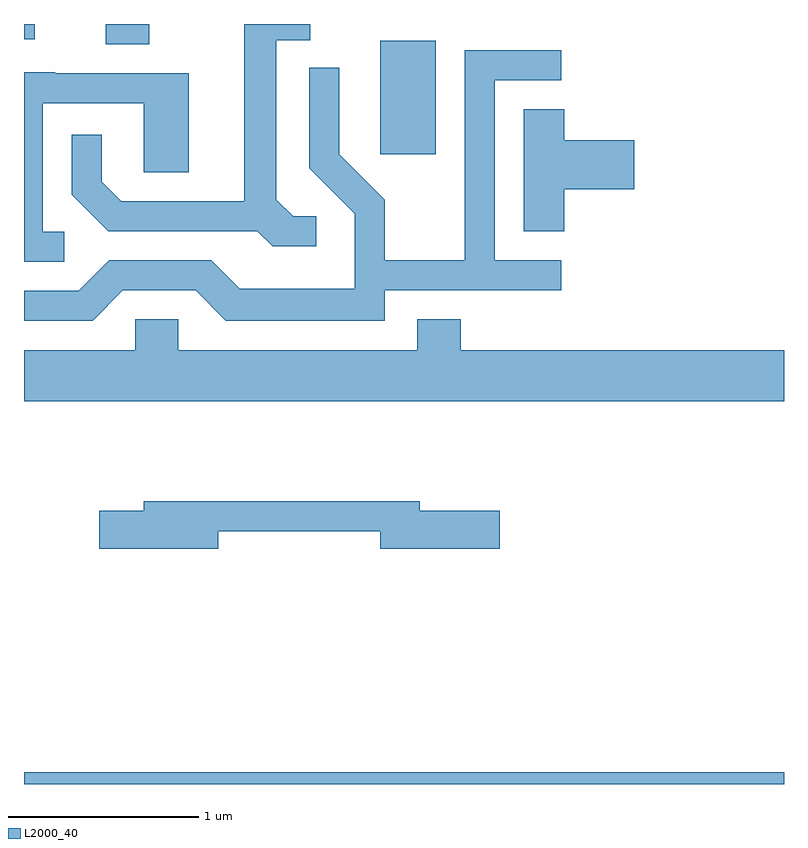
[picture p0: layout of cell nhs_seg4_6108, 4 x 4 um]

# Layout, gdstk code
import gdstk
lib = gdstk.Library(unit=1e-6, precision=1e-09)
def R(c, l, rs):  # rectangles x0, y0, x1, y1
    for r in rs: c.add(gdstk.rectangle(r[:2], r[2:], *l))
def P(c, l, *ps):  # polygons
    for p in ps: c.add(gdstk.Polygon(p, *l))
L2000_40 = (2000, 40)

nhs_seg4_6108 = lib.new_cell('nhs_seg4_6108')
R(nhs_seg4_6108, L2000_40, [(363.611,1365.982,367.611,1366.044), (365.486,1369.296,365.779,1369.894), (364.041,1369.876,364.269,1369.982), (363.611,1369.901,363.668,1369.982)])
P(nhs_seg4_6108, L2000_40, [(365.148,1368.969),(365.027,1368.969),(364.939,1369.057),(364.939,1369.896),(365.118,1369.896),(365.118,1369.982),(364.771,1369.982),(364.771,1369.049),(364.122,1369.049),(364.019,1369.152),(364.019,1369.398),(363.861,1369.398),(363.861,1369.084),(364.054,1368.891),(364.839,1368.891),(364.919,1368.811),(365.148,1368.811)],
  [(364.132,1368.581),(364.514,1368.581),(364.674,1368.421),(365.509,1368.421),(365.509,1368.581),(366.438,1368.581),(366.438,1368.739),(366.089,1368.739),(366.089,1369.686),(366.438,1369.686),(366.438,1369.844),(365.931,1369.844),(365.931,1368.739),(365.509,1368.739),(365.509,1369.057),(365.269,1369.297),(365.269,1369.753),(365.111,1369.753),(365.111,1369.224),(365.351,1368.984),(365.351,1368.589),(364.747,1368.589),(364.597,1368.739),(364.059,1368.739),(363.899,1368.579),(363.611,1368.579),(363.611,1368.421),(363.972,1368.421)],
  [(363.823,1368.889),(363.709,1368.889),(363.709,1369.566),(364.241,1369.566),(364.241,1369.201),(364.479,1369.201),(364.479,1369.724),(363.775,1369.724),(363.775,1369.729),(363.611,1369.729),(363.611,1368.731),(363.823,1368.731)],
  [(366.454,1369.111),(366.824,1369.111),(366.824,1369.369),(366.454,1369.369),(366.454,1369.534),(366.241,1369.534),(366.241,1368.891),(366.454,1368.891)],
  [(367.611,1368.264),(365.909,1368.264),(365.909,1368.429),(365.681,1368.429),(365.681,1368.264),(364.424,1368.264),(364.424,1368.429),(364.196,1368.429),(364.196,1368.264),(363.611,1368.264),(363.611,1367.996),(367.611,1367.996)],
  [(364.634,1367.311),(365.486,1367.311),(365.486,1367.221),(366.114,1367.221),(366.114,1367.419),(365.694,1367.419),(365.694,1367.469),(364.241,1367.469),(364.241,1367.419),(364.006,1367.419),(364.006,1367.221),(364.634,1367.221)])

lib.write_gds('nhs_seg4_6108.gds')
